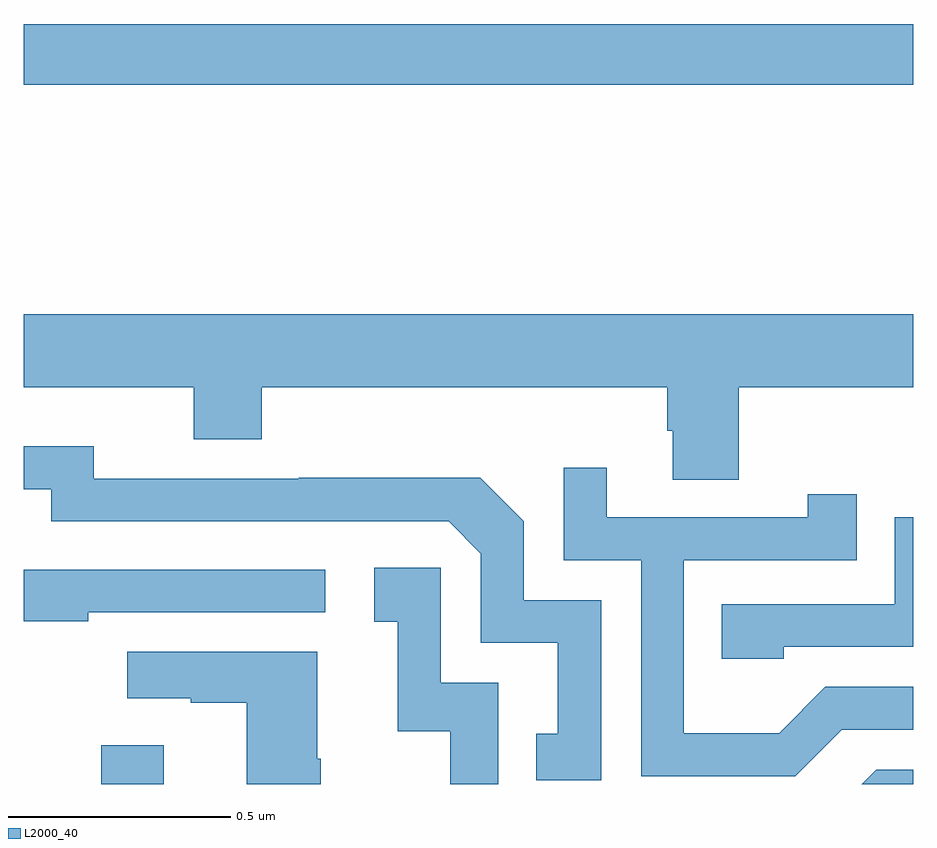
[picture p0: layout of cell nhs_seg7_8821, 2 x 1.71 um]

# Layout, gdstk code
import gdstk
lib = gdstk.Library(unit=1e-6, precision=1e-09)
def R(c, l, rs):  # rectangles x0, y0, x1, y1
    for r in rs: c.add(gdstk.rectangle(r[:2], r[2:], *l))
def P(c, l, *ps):  # polygons
    for p in ps: c.add(gdstk.Polygon(p, *l))
L2000_40 = (2000, 40)

nhs_seg7_8821 = lib.new_cell('nhs_seg7_8821')
R(nhs_seg7_8821, L2000_40, [(229.175,1057,229.315,1057.087), (229,1058.572,231,1058.708)])
P(nhs_seg7_8821, L2000_40, [(229,1057.892),(229.382,1057.892),(229.382,1057.775),(229.535,1057.775),(229.535,1057.892),(230.447,1057.892),(230.447,1057.794),(230.459,1057.794),(230.459,1057.684),(230.607,1057.684),(230.607,1057.892),(231,1057.892),(231,1058.056),(229,1058.056)],
  [(230.298,1057.413),(230.124,1057.413),(230.124,1057.59),(230.026,1057.688),(229.618,1057.688),(229.618,1057.686),(229.158,1057.686),(229.158,1057.759),(229,1057.759),(229,1057.662),(229.062,1057.662),(229.062,1057.59),(229.956,1057.59),(230.028,1057.518),(230.028,1057.317),(230.201,1057.317),(230.201,1057.113),(230.152,1057.113),(230.152,1057.008),(230.298,1057.008)],
  [(230.839,1057.122),(231,1057.122),(231,1057.218),(230.802,1057.218),(230.698,1057.114),(230.484,1057.114),(230.484,1057.503),(230.873,1057.503),(230.873,1057.651),(230.762,1057.651),(230.762,1057.599),(230.311,1057.599),(230.311,1057.711),(230.214,1057.711),(230.214,1057.503),(230.388,1057.503),(230.388,1057.017),(230.734,1057.017)],
  [(230.709,1057.308),(231,1057.308),(231,1057.599),(230.958,1057.599),(230.958,1057.404),(230.569,1057.404),(230.569,1057.281),(230.709,1057.281)],
  [(230.067,1057.227),(229.938,1057.227),(229.938,1057.486),(229.788,1057.486),(229.788,1057.365),(229.841,1057.365),(229.841,1057.119),(229.959,1057.119),(229.959,1057),(230.067,1057)],
  [(229.145,1057.386),(229.678,1057.386),(229.678,1057.482),(229,1057.482),(229,1057.366),(229.145,1057.366)],
  [(229.668,1057.057),(229.66,1057.057),(229.66,1057.297),(229.233,1057.297),(229.233,1057.193),(229.376,1057.193),(229.376,1057.183),(229.502,1057.183),(229.502,1057),(229.668,1057)],
  [(231,1057.032),(230.916,1057.032),(230.884,1057),(231,1057)])

lib.write_gds('nhs_seg7_8821.gds')
